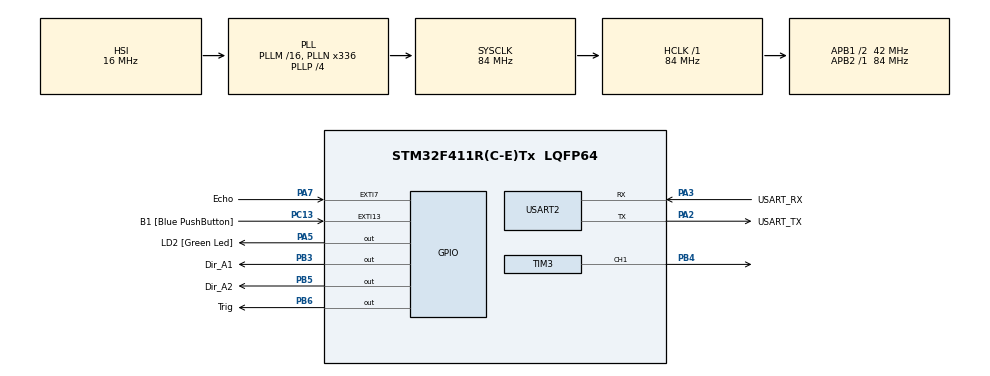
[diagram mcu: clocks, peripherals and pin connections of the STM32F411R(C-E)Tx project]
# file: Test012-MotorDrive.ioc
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FREERTOS.BinarySemaphores01=myBinarySem01,Dynamic,NULL
FREERTOS.Tasks01=myTask01,0,128,StartTask01,Default,NULL,Dynamic,NULL,NULL;myTask02,-1,128,StartTask02,Default,NULL,Dynamic,NULL,NULL;myTask03,-2,128,StartTask03,Default,NULL,Dynamic,NULL,NULL;myTask04,-3,128,StartTask04,Default,NULL,Dynamic,NULL,NULL
FREERTOS.configUSE_NEWLIB_REENTRANT=1
Mcu.Family=STM32F4
Mcu.Name=STM32F411R(C-E)Tx
Mcu.Package=LQFP64
NVIC.EXTI9_5_IRQn=true\:5\:0\:false\:false\:true\:true\:true\:true\:true
NVIC.PriorityGroup=NVIC_PRIORITYGROUP_4
NVIC.TIM1_UP_TIM10_IRQn=true\:15\:0\:false\:false\:true\:false\:false\:true\:true
NVIC.TimeBase=TIM1_UP_TIM10_IRQn
NVIC.TimeBaseIP=TIM10
PA13.GPIO_Label=TMS
PA13.Mode=Serial_Wire
PA13.Signal=SYS_JTMS-SWDIO
PA14.GPIO_Label=TCK
PA14.Mode=Serial_Wire
PA14.Signal=SYS_JTCK-SWCLK
PA2.GPIO_Label=USART_TX
PA2.Mode=Asynchronous
PA2.Signal=USART2_TX
PA3.GPIO_Label=USART_RX
PA3.Mode=Asynchronous
PA3.Signal=USART2_RX
PA5.GPIO_Label=LD2 [Green Led]
PA5.Signal=GPIO_Output
PA7.GPIO_Label=Echo
PA7.GPIO_ModeDefaultEXTI=GPIO_MODE_IT_RISING_FALLING
PA7.Signal=GPXTI7
PB3.GPIO_Label=Dir_A1
PB3.Signal=GPIO_Output
PB4.Signal=S_TIM3_CH1
PB5.GPIO_Label=Dir_A2
PB5.Signal=GPIO_Output
PB6.GPIO_Label=Trig
PB6.Signal=GPIO_Output
PC13-ANTI_TAMP.GPIO_Label=B1 [Blue PushButton]
PC13-ANTI_TAMP.GPIO_ModeDefaultEXTI=GPIO_MODE_IT_FALLING
PC13-ANTI_TAMP.Signal=GPXTI13
PC14-OSC32_IN.Mode=LSE-External-Oscillator
PC14-OSC32_IN.Signal=RCC_OSC32_IN
PC15-OSC32_OUT.Mode=LSE-External-Oscillator
PC15-OSC32_OUT.Signal=RCC_OSC32_OUT
PH0\ -\ OSC_IN.Mode=HSE-External-Clock-Source
PH0\ -\ OSC_IN.Signal=RCC_OSC_IN
PH1\ -\ OSC_OUT.Mode=HSE-External-Clock-Source
PH1\ -\ OSC_OUT.Signal=RCC_OSC_OUT
ProjectManager.HeapSize=0x200
ProjectManager.StackSize=0x400
ProjectManager.TargetToolchain=STM32CubeIDE
RCC.48MHZClocksFreq_Value=84000000
RCC.AHBFreq_Value=84000000
RCC.APB1CLKDivider=RCC_HCLK_DIV2
RCC.APB1Freq_Value=42000000
RCC.APB1TimFreq_Value=84000000
RCC.APB2Freq_Value=84000000
RCC.APB2TimFreq_Value=84000000
RCC.CortexFreq_Value=84000000
RCC.FLatency-AdvancedSettings=FLASH_LATENCY_2
RCC.HCLKFreq_Value=84000000
RCC.HSE_VALUE=8000000
RCC.HSI_VALUE=16000000
RCC.PLLN=336
RCC.PLLP=RCC_PLLP_DIV4
RCC.SYSCLKFreq_VALUE=84000000
RCC.SYSCLKSource=RCC_SYSCLKSOURCE_PLLCLK
RCC.VCOOutputFreq_Value=336000000
SH.S_TIM3_CH1.0=TIM3_CH1,PWM Generation1 CH1
TIM2.Prescaler=84-1
TIM3.Channel-PWM\ Generation1\ CH1=TIM_CHANNEL_1
TIM3.Period=1000-1
TIM3.Prescaler=84-1
USART2.VirtualMode=VM_ASYNC
VP_FREERTOS_VS_CMSIS_V1.Mode=CMSIS_V1
VP_SYS_VS_tim10.Mode=TIM10
VP_TIM2_VS_ClockSourceINT.Mode=Internal
VP_TIM3_VS_ClockSourceINT.Mode=Internal
board=NUCLEO-F411RE

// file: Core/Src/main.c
/* USER CODE BEGIN Header */
/**
  ******************************************************************************
  * @file           : main.c
  * @brief          : Main program body
  ******************************************************************************
  * @attention
  *
  * Copyright (c) 2025 STMicroelectronics.
  * All rights reserved.
  *
  * This software is licensed under terms that can be found in the LICENSE file
  * in the root directory of this software component.
  * If no LICENSE file comes with this software, it is provided AS-IS.
  *
  ******************************************************************************
  */
/* USER CODE END Header */
#include "main.h"
#include "cmsis_os.h"

TIM_HandleTypeDef htim2;
TIM_HandleTypeDef htim3;

UART_HandleTypeDef huart2;

osThreadId myTask01Handle;
osThreadId myTask02Handle;
osThreadId myTask03Handle;
osThreadId myTask04Handle;
osSemaphoreId myBinarySem01Handle;

void SystemClock_Config(void);
static void MX_GPIO_Init(void);
static void MX_USART2_UART_Init(void);
static void MX_TIM3_Init(void);
static void MX_TIM2_Init(void);
void StartTask01(void const * argument);
void StartTask02(void const * argument);
void StartTask03(void const * argument);
void StartTask04(void const * argument);

/* USER CODE BEGIN 0 */
void microDelay(int us) // us : micro second
{
	int t1 = htim2.Instance->CNT;
	// while(1)

	// {

	// if(htim2.Instance->CNT - t1 >= us) break;

	// }
	while(htim2.Instance->CNT - t1 < us);

	// htim2.Instance->CNT = 0;

	// while(htim2.Instance->CNT < us);
}

void Trigger()
{
	HAL_GPIO_WritePin(Trig_GPIO_Port, Trig_Pin, 0);
	microDelay(10);
	HAL_GPIO_WritePin(Trig_GPIO_Port, Trig_Pin, 1);
	microDelay(10);
	HAL_GPIO_WritePin(Trig_GPIO_Port, Trig_Pin, 0);
}

int t0= 0; t1=0;
volatile int dist=0;// mm
void HAL_GPIO_EXTI_Callback(uint16_t GPIO_Pin)
{
	if(GPIO_Pin == Echo_Pin)
	{
		int tt = htim2.Instance->CNT;
		if(HAL_GPIO_ReadPin(Echo_GPIO_Port, Echo_Pin) == 1)//rising
		{
			t0=tt;
		}
		else
		{
			t1=tt;
			dist=(double)0.17*(t1-t0);
		}
	}
}
/* USER CODE END 0 */

int main(void)
{

  /* MCU Configuration--------------------------------------------------------*/

  /* Reset of all peripherals, Initializes the Flash interface and the Systick. */
  HAL_Init();

  /* Configure the system clock */
  SystemClock_Config();

  /* Initialize all configured peripherals */
  MX_GPIO_Init();
  MX_USART2_UART_Init();
  MX_TIM3_Init();
  MX_TIM2_Init();

  /* Create the semaphores(s) */
  /* definition and creation of myBinarySem01 */
  osSemaphoreDef(myBinarySem01);
  myBinarySem01Handle = osSemaphoreCreate(osSemaphore(myBinarySem01), 1);

  /* Create the thread(s) */
  /* definition and creation of myTask01 */
  osThreadDef(myTask01, StartTask01, osPriorityNormal, 0, 128);
  myTask01Handle = osThreadCreate(osThread(myTask01), NULL);

  /* definition and creation of myTask02 */
  osThreadDef(myTask02, StartTask02, osPriorityBelowNormal, 0, 128);
  myTask02Handle = osThreadCreate(osThread(myTask02), NULL);

  /* definition and creation of myTask03 */
  osThreadDef(myTask03, StartTask03, osPriorityLow, 0, 128);
  myTask03Handle = osThreadCreate(osThread(myTask03), NULL);

  /* definition and creation of myTask04 */
  osThreadDef(myTask04, StartTask04, osPriorityIdle, 0, 128);
  myTask04Handle = osThreadCreate(osThread(myTask04), NULL);

  /* USER CODE BEGIN RTOS_THREADS */
  /* add threads, ... */
  ProgramStart("DC Motor & Motor Driver Test");
  HAL_GPIO_WritePin(Dir_A1_GPIO_Port, Dir_A1_Pin, 1);
  HAL_GPIO_WritePin(Dir_A2_GPIO_Port, Dir_A2_Pin, 0);
  HAL_TIM_PWM_Start(&htim3, TIM_CHANNEL_1);
  HAL_TIM_Base_Start(&htim2);
  /* USER CODE END RTOS_THREADS */

  /* Start scheduler */
  osKernelStart();

  /* We should never get here as control is now taken by the scheduler */
  /* Infinite loop */
  /* USER CODE BEGIN WHILE */
  int ccr1 = 0, op=10;
  while (1)
  {

    /* USER CODE END WHILE */

    /* USER CODE BEGIN 3 */
	  HAL_Delay(50);
  }
  /* USER CODE END 3 */
}

void SystemClock_Config(void)
{
  RCC_OscInitTypeDef RCC_OscInitStruct = {0};
  RCC_ClkInitTypeDef RCC_ClkInitStruct = {0};

  /** Configure the main internal regulator output voltage
  */
  __HAL_RCC_PWR_CLK_ENABLE();
  __HAL_PWR_VOLTAGESCALING_CONFIG(PWR_REGULATOR_VOLTAGE_SCALE1);

  /** Initializes the RCC Oscillators according to the specified parameters
  * in the RCC_OscInitTypeDef structure.
  */
  RCC_OscInitStruct.OscillatorType = RCC_OSCILLATORTYPE_HSI;
  RCC_OscInitStruct.HSIState = RCC_HSI_ON;
  RCC_OscInitStruct.HSICalibrationValue = RCC_HSICALIBRATION_DEFAULT;
  RCC_OscInitStruct.PLL.PLLState = RCC_PLL_ON;
  RCC_OscInitStruct.PLL.PLLSource = RCC_PLLSOURCE_HSI;
  RCC_OscInitStruct.PLL.PLLM = 16;
  RCC_OscInitStruct.PLL.PLLN = 336;
  RCC_OscInitStruct.PLL.PLLP = RCC_PLLP_DIV4;
  RCC_OscInitStruct.PLL.PLLQ = 4;
  if (HAL_RCC_OscConfig(&RCC_OscInitStruct) != HAL_OK)
  {
    Error_Handler();
  }

  /** Initializes the CPU, AHB and APB buses clocks
  */
  RCC_ClkInitStruct.ClockType = RCC_CLOCKTYPE_HCLK|RCC_CLOCKTYPE_SYSCLK
                              |RCC_CLOCKTYPE_PCLK1|RCC_CLOCKTYPE_PCLK2;
  RCC_ClkInitStruct.SYSCLKSource = RCC_SYSCLKSOURCE_PLLCLK;
  RCC_ClkInitStruct.AHBCLKDivider = RCC_SYSCLK_DIV1;
  RCC_ClkInitStruct.APB1CLKDivider = RCC_HCLK_DIV2;
  RCC_ClkInitStruct.APB2CLKDivider = RCC_HCLK_DIV1;

  if (HAL_RCC_ClockConfig(&RCC_ClkInitStruct, FLASH_LATENCY_2) != HAL_OK)
  {
    Error_Handler();
  }
}

static void MX_TIM2_Init(void)
{

  TIM_ClockConfigTypeDef sClockSourceConfig = {0};
  TIM_MasterConfigTypeDef sMasterConfig = {0};

  htim2.Instance = TIM2;
  htim2.Init.Prescaler = 84-1;
  htim2.Init.CounterMode = TIM_COUNTERMODE_UP;
  htim2.Init.Period = 4294967295;
  htim2.Init.ClockDivision = TIM_CLOCKDIVISION_DIV1;
  htim2.Init.AutoReloadPreload = TIM_AUTORELOAD_PRELOAD_DISABLE;
  if (HAL_TIM_Base_Init(&htim2) != HAL_OK)
  {
    Error_Handler();
  }
  sClockSourceConfig.ClockSource = TIM_CLOCKSOURCE_INTERNAL;
  if (HAL_TIM_ConfigClockSource(&htim2, &sClockSourceConfig) != HAL_OK)
  {
    Error_Handler();
  }
  sMasterConfig.MasterOutputTrigger = TIM_TRGO_RESET;
  sMasterConfig.MasterSlaveMode = TIM_MASTERSLAVEMODE_DISABLE;
  if (HAL_TIMEx_MasterConfigSynchronization(&htim2, &sMasterConfig) != HAL_OK)
  {
    Error_Handler();
  }

}

static void MX_TIM3_Init(void)
{

  TIM_ClockConfigTypeDef sClockSourceConfig = {0};
  TIM_MasterConfigTypeDef sMasterConfig = {0};
  TIM_OC_InitTypeDef sConfigOC = {0};

  htim3.Instance = TIM3;
  htim3.Init.Prescaler = 84-1;
  htim3.Init.CounterMode = TIM_COUNTERMODE_UP;
  htim3.Init.Period = 1000-1;
  htim3.Init.ClockDivision = TIM_CLOCKDIVISION_DIV1;
  htim3.Init.AutoReloadPreload = TIM_AUTORELOAD_PRELOAD_DISABLE;
  if (HAL_TIM_Base_Init(&htim3) != HAL_OK)
  {
    Error_Handler();
  }
  sClockSourceConfig.ClockSource = TIM_CLOCKSOURCE_INTERNAL;
  if (HAL_TIM_ConfigClockSource(&htim3, &sClockSourceConfig) != HAL_OK)
  {
    Error_Handler();
  }
  if (HAL_TIM_PWM_Init(&htim3) != HAL_OK)
  {
    Error_Handler();
  }
  sMasterConfig.MasterOutputTrigger = TIM_TRGO_RESET;
  sMasterConfig.MasterSlaveMode = TIM_MASTERSLAVEMODE_DISABLE;
  if (HAL_TIMEx_MasterConfigSynchronization(&htim3, &sMasterConfig) != HAL_OK)
  {
    Error_Handler();
  }
  sConfigOC.OCMode = TIM_OCMODE_PWM1;
  sConfigOC.Pulse = 0;
  sConfigOC.OCPolarity = TIM_OCPOLARITY_HIGH;
  sConfigOC.OCFastMode = TIM_OCFAST_DISABLE;
  if (HAL_TIM_PWM_ConfigChannel(&htim3, &sConfigOC, TIM_CHANNEL_1) != HAL_OK)
  {
    Error_Handler();
  }
  HAL_TIM_MspPostInit(&htim3);

}

static void MX_USART2_UART_Init(void)
{

  huart2.Instance = USART2;
  huart2.Init.BaudRate = 115200;
  huart2.Init.WordLength = UART_WORDLENGTH_8B;
  huart2.Init.StopBits = UART_STOPBITS_1;
  huart2.Init.Parity = UART_PARITY_NONE;
  huart2.Init.Mode = UART_MODE_TX_RX;
  huart2.Init.HwFlowCtl = UART_HWCONTROL_NONE;
  huart2.Init.OverSampling = UART_OVERSAMPLING_16;
  if (HAL_UART_Init(&huart2) != HAL_OK)
  {
    Error_Handler();
  }

}

static void MX_GPIO_Init(void)
{
  GPIO_InitTypeDef GPIO_InitStruct = {0};

  /* GPIO Ports Clock Enable */
  __HAL_RCC_GPIOC_CLK_ENABLE();
  __HAL_RCC_GPIOH_CLK_ENABLE();
  __HAL_RCC_GPIOA_CLK_ENABLE();
  __HAL_RCC_GPIOB_CLK_ENABLE();

  /*Configure GPIO pin Output Level */
  HAL_GPIO_WritePin(LD2_GPIO_Port, LD2_Pin, GPIO_PIN_RESET);

  /*Configure GPIO pin Output Level */
  HAL_GPIO_WritePin(GPIOB, Dir_A1_Pin|Dir_A2_Pin|Trig_Pin, GPIO_PIN_RESET);

  /*Configure GPIO pin : B1_Pin */
  GPIO_InitStruct.Pin = B1_Pin;
  GPIO_InitStruct.Mode = GPIO_MODE_IT_FALLING;
  GPIO_InitStruct.Pull = GPIO_NOPULL;
  HAL_GPIO_Init(B1_GPIO_Port, &GPIO_InitStruct);

  /*Configure GPIO pin : LD2_Pin */
  GPIO_InitStruct.Pin = LD2_Pin;
  GPIO_InitStruct.Mode = GPIO_MODE_OUTPUT_PP;
  GPIO_InitStruct.Pull = GPIO_NOPULL;
  GPIO_InitStruct.Speed = GPIO_SPEED_FREQ_LOW;
  HAL_GPIO_Init(LD2_GPIO_Port, &GPIO_InitStruct);

  /*Configure GPIO pin : Echo_Pin */
  GPIO_InitStruct.Pin = Echo_Pin;
  GPIO_InitStruct.Mode = GPIO_MODE_IT_RISING_FALLING;
  GPIO_InitStruct.Pull = GPIO_NOPULL;
  HAL_GPIO_Init(Echo_GPIO_Port, &GPIO_InitStruct);

  /*Configure GPIO pins : Dir_A1_Pin Dir_A2_Pin Trig_Pin */
  GPIO_InitStruct.Pin = Dir_A1_Pin|Dir_A2_Pin|Trig_Pin;
  GPIO_InitStruct.Mode = GPIO_MODE_OUTPUT_PP;
  GPIO_InitStruct.Pull = GPIO_NOPULL;
  GPIO_InitStruct.Speed = GPIO_SPEED_FREQ_LOW;
  HAL_GPIO_Init(GPIOB, &GPIO_InitStruct);

  /* EXTI interrupt init*/
  HAL_NVIC_SetPriority(EXTI9_5_IRQn, 5, 0);
  HAL_NVIC_EnableIRQ(EXTI9_5_IRQn);

}

void StartTask01(void const * argument)
{
  /* USER CODE BEGIN 5 */
  /* Infinite loop */
  for(;;)
  {
	  if(osSemaphoreWait(myBinarySem01Handle,0) == osOK)
	  {
	  	Trigger(); HAL_Delay(60);//delay�? ?���??��?�� 처리?���? Release
	  	osSemaphoreRelease(myBinarySem01Handle);
	  }
	  osDelay(1);
  }
  /* USER CODE END 5 */
}

int dr = 30, dr1 = 30, dr2 = 50, dr3 = 90;  //duty rate step
void StartTask02(void const * argument)
{
  /* USER CODE BEGIN StartTask02 */
  /* Infinite loop */
  for(;;)
  {
	  if(osSemaphoreWait(myBinarySem01Handle,0) == osOK)
	  {
		  //dutyrate
		  if(dist < 500)
		  {
			  dr = 0;
		  }//1. dr=0 2. A1,A2 0,0 or 1,1 -> stop
		  else if(dist < 1000) dr = dr1;
		  else if(dist < 2000) dr = dr2;
		  else dr = dr3;
		  htim3.Instance->CCR1 = htim3.Instance->ARR / 100 * dr;
		  HAL_Delay(100);
	      osSemaphoreRelease(myBinarySem01Handle);
	  }
	  osDelay(1);
  }
  /* USER CODE END StartTask02 */
}

void StartTask03(void const * argument)
{
  for(;;)
  {
    osDelay(1);
  }
}

void StartTask04(void const * argument)
{
  /* USER CODE BEGIN StartTask04 */
  /* Infinite loop */
  for(;;)
  {
	if(osSemaphoreWait(myBinarySem01Handle,0) == osOK)
	{
	  		int dm = dist / 1000;
	  		int dc = ((int)(dist * 10))%100;
	  		printf("Current Distance : %d m %d cm (%d mm)(%d-%d)\r\n", dm, dc, dist,t1,t0);
	  		osSemaphoreRelease(myBinarySem01Handle);
	}
    osDelay(1);
  }
  /* USER CODE END StartTask04 */
}

void HAL_TIM_PeriodElapsedCallback(TIM_HandleTypeDef *htim)
{
  if (htim->Instance == TIM10) {
    HAL_IncTick();
  }
}

void Error_Handler(void)
{
  __disable_irq();
  while (1)
  {
  }
}
